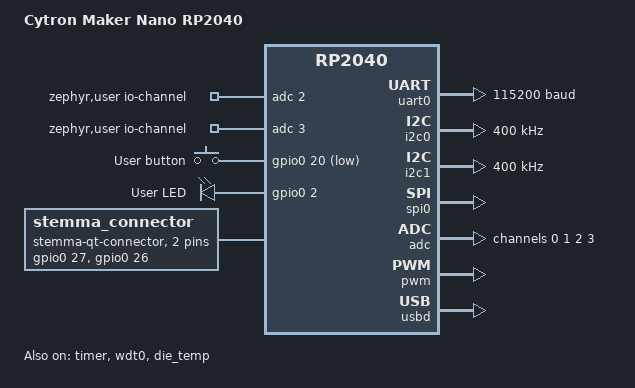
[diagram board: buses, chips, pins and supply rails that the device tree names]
/*
 * Copyright (c) 2021 Yonatan Schachter
 * Copyright (c) 2022 Peter Johanson
 * Copyright (c) 2025 Jonas Berg
 *
 * SPDX-License-Identifier: Apache-2.0
 */

/dts-v1/;

#include <raspberrypi/rpi_pico/rp2040.dtsi>
#include <zephyr/dt-bindings/input/input-event-codes.h>
#include <zephyr/dt-bindings/led/led.h>
#include <zephyr/dt-bindings/pinctrl/rpi-pico-rp2040-pinctrl.h>
#include "arduino_nano_connector.dtsi"
#include "maker_nano_rp2040-pinctrl.dtsi"

/ {
	model = "Cytron Maker Nano RP2040";
	compatible = "cytron,maker_nano_rp2040";

	chosen {
		zephyr,sram = &sram0;
		zephyr,flash = &flash0;
		zephyr,flash-controller = &ssi;
		zephyr,console = &uart0;
		zephyr,shell-uart = &uart0;
		zephyr,code-partition = &code_partition;
	};

	aliases {
		led0 = &user_led;
		led-strip = &ws2812;
		sw0 = &user_button;
		watchdog0 = &wdt0;
	};

	zephyr,user {
		io-channels = <&adc 2>, <&adc 3>;
	};

	gpio_keys {
		compatible = "gpio-keys";

		user_button: user_button {
			label = "User button";
			gpios = <&gpio0 20 (GPIO_ACTIVE_LOW | GPIO_PULL_UP)>;
			zephyr,code = <INPUT_KEY_0>;
		};
	};

	leds {
		compatible = "gpio-leds";

		user_led: user_led {
			gpios = <&gpio0 2 GPIO_ACTIVE_HIGH>;
			label = "User LED";
		};
	};

	stemma_connector: stemma_connector {
		compatible = "stemma-qt-connector";
		#gpio-cells = <2>;
		gpio-map-mask = <0xffffffff 0xffffffc0>;
		gpio-map-pass-thru = <0 0x3f>;
		gpio-map = <0 0 &gpio0 27 0>, /* SCL */
			   <1 0 &gpio0 26 0>; /* SDA */
	};
};

&flash0 {
	reg = <0x10000000 DT_SIZE_M(2)>;
	ranges = <0x0 0x10000000 DT_SIZE_M(2)>;

	partitions {
		compatible = "fixed-partitions";
		#address-cells = <1>;
		#size-cells = <1>;
		ranges;

		/* Reserved memory for the second stage bootloader */
		second_stage_bootloader: partition@0 {
			label = "second_stage_bootloader";
			reg = <0x00000000 0x100>;
			read-only;
		};

		/*
		 * Usable flash. Starts at 0x100, after the bootloader. The partition
		 * size is 2 MB minus the 0x100 bytes taken by the bootloader.
		 */
		code_partition: partition@100 {
			label = "code-partition";
			reg = <0x100 (DT_SIZE_M(2) - 0x100)>;
			read-only;
		};
	};
};

&gpio0 {
	status = "okay";
};

&uart0 {
	current-speed = <115200>;
	status = "okay";
	pinctrl-0 = <&uart0_default>;
	pinctrl-names = "default";
};

&i2c0 {
	status = "okay";
	pinctrl-0 = <&i2c0_default>;
	pinctrl-names = "default";
	clock-frequency = <I2C_BITRATE_FAST>;
};

zephyr_i2c: &i2c1 {
	status = "okay";
	pinctrl-0 = <&i2c1_default>;
	pinctrl-names = "default";
	clock-frequency = <I2C_BITRATE_FAST>;
};

&spi0 {
	pinctrl-0 = <&spi0_default>;
	pinctrl-names = "default";
	status = "okay";
};

&timer {
	status = "okay";
};

&wdt0 {
	status = "okay";
};

&adc {
	status = "okay";
	pinctrl-0 = <&adc_default>;
	pinctrl-names = "default";
	#address-cells = <1>;
	#size-cells = <0>;

	channel@0 {
		reg = <0>;
		zephyr,gain = "ADC_GAIN_1";
		zephyr,reference = "ADC_REF_INTERNAL";
		zephyr,acquisition-time = <ADC_ACQ_TIME_DEFAULT>;
		zephyr,resolution = <12>;
	};

	channel@1 {
		reg = <1>;
		zephyr,gain = "ADC_GAIN_1";
		zephyr,reference = "ADC_REF_INTERNAL";
		zephyr,acquisition-time = <ADC_ACQ_TIME_DEFAULT>;
		zephyr,resolution = <12>;
	};

	channel@2 {
		reg = <2>;
		zephyr,gain = "ADC_GAIN_1";
		zephyr,reference = "ADC_REF_INTERNAL";
		zephyr,acquisition-time = <ADC_ACQ_TIME_DEFAULT>;
		zephyr,resolution = <12>;
	};

	channel@3 {
		reg = <3>;
		zephyr,gain = "ADC_GAIN_1";
		zephyr,reference = "ADC_REF_INTERNAL";
		zephyr,acquisition-time = <ADC_ACQ_TIME_DEFAULT>;
		zephyr,resolution = <12>;
	};
};

&pwm {
	pinctrl-0 = <&pwm_default>;
	pinctrl-names = "default";
	status = "okay";
};

&pio0 {
	status = "okay";

	pio-ws2812 {
		compatible = "worldsemi,ws2812-rpi_pico-pio";
		status = "okay";
		pinctrl-0 = <&ws2812_pio0_default>;
		pinctrl-names = "default";
		bit-waveform = <3>, <3>, <4>;

		ws2812: ws2812 {
			status = "okay";
			gpios = <&gpio0 11 GPIO_ACTIVE_HIGH>;
			chain-length = <2>;
			color-mapping = <LED_COLOR_ID_GREEN
					 LED_COLOR_ID_RED
					 LED_COLOR_ID_BLUE>;
			reset-delay = <280>;
			frequency = <800000>;
		};
	};
};

zephyr_udc0: &usbd {
	status = "okay";
};

&die_temp {
	status = "okay";
};

&vreg {
	regulator-always-on;
	regulator-allowed-modes = <REGULATOR_RPI_PICO_MODE_NORMAL>;
};

&xosc {
	startup-delay-multiplier = <64>;
};
